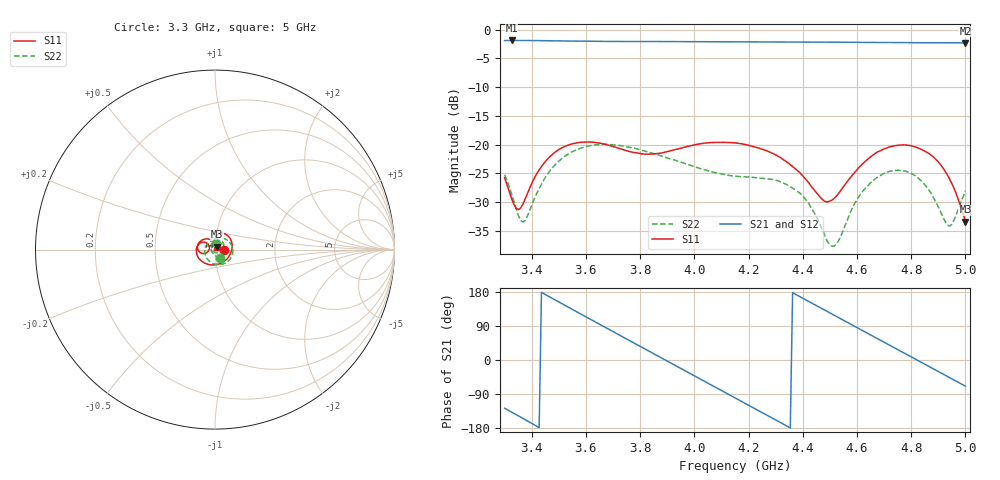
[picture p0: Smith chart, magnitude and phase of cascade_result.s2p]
! Created with skrf 1.11.0 (http://scikit-rf.org).
! Data is not renormalized
! S-parameter uses the pseudo definition
# GHz S RI R
!freq ReS11 ImS11 ReS21 ImS21 ReS12 ImS12 ReS22 ImS22
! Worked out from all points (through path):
!   201 points, 3.3 GHz to 5 GHz, reference per port
!   highest |S21| = -1.88 dB at 3.325 GHz (marker M1); lowest = -2.3 dB at 5 GHz (marker M2)
!   lowest |S11| = -33.4 dB at 5 GHz (marker M3), VSWR 1.04
!   |S11| at or under -10 dB: start of sweep to end of sweep
!   |S22| runs from -37.7 to -19.9 dB; largest |S21 - S12| = 1.2e-14
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3.3  0.0514 -0.00143  -0.4865 -0.6416  -0.4865 -0.6416  0.0303 -0.0455
! Port Impedance 50.00000000000000 0.00000000000000 50.00000000000000 0.00000000000000
3.3255  0.0333 0.00726  -0.5932 -0.5449  -0.5932 -0.5449  0.00581 -0.037
3.368  0.0117 0.0281  -0.7266 -0.3467  -0.7266 -0.3467  -0.0197 -0.00796
3.47  0.0111 0.079  -0.7728 0.208  -0.7728 0.208  0.00966 0.0595
3.589  0.0675 0.0804  -0.3752 0.6995  -0.3752 0.6995  0.0898 0.0292
3.6485  0.0904 0.0497  -0.0689 0.7885  -0.0689 0.7885  0.0992 -0.0139
3.7165  0.0937 -0.00109  0.2892 0.7348  0.2892 0.7348  0.0805 -0.0572
3.8015  0.0581 -0.0598  0.6425 0.457  0.6425 0.457  0.0355 -0.0826
3.8695  0.00867 -0.0834  0.7785 0.1225  0.7785 0.1225  -0.000923 -0.0807
3.946  -0.0477 -0.079  0.7354 -0.2798  0.7354 -0.2798  -0.0346 -0.0617
4.031  -0.091 -0.047  0.4631 -0.6347  0.4631 -0.6347  -0.0563 -0.0229
4.15  -0.1032 0.00691  -0.1372 -0.7718  -0.1372 -0.7718  -0.0376 0.0375
4.218  -0.0917 0.0285  -0.465 -0.6296  -0.465 -0.6296  -0.00404 0.0517
4.303  -0.069 0.0416  -0.7318 -0.2749  -0.7318 -0.2749  0.0349 0.0341
4.371  -0.0488 0.0382  -0.7763 0.0785  -0.7763 0.0785  0.0404 0.004
4.439  -0.0343 0.0225  -0.6604 0.4143  -0.6604 0.4143  0.0208 -0.0161
4.5155  -0.0339 -0.00229  -0.3677 0.6854  -0.3677 0.6854  -0.00992 -0.00851
4.6175  -0.0631 -0.0224  0.151 0.7592  0.151 0.7592  -0.0136 0.0357
4.7195  -0.0952 0.000218  0.5949 0.4897  0.5949 0.4897  0.0279 0.0514
4.83  -0.0782 0.0494  0.7686 -0.0415  0.7686 -0.0415  0.0467 0.0181
4.9405  -0.013 0.0491  0.5359 -0.5517  0.5359 -0.5517  0.0144 0.0131
5  0.0131 0.0169  0.276 -0.7166  0.276 -0.7166  0.00572 0.0392
